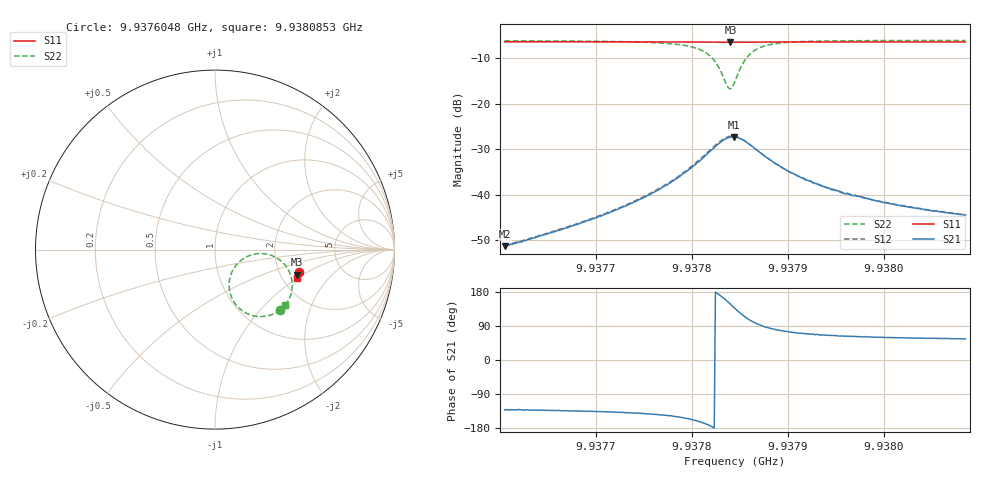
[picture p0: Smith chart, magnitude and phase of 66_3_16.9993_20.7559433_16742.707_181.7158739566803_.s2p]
#  HZ  S  RI  R  50.00
! Rohde & Schwarz Vector Network Analyzer
! Rohde-Schwarz,ZNB20-2Port,1311601062101988,3.16
! Created: UTC 3/20/2024, 10:55:01 PM
! freq[Hz]  re:S11  im:S11  re:S21  im:S21  re:S12  im:S12  re:S22  im:S22
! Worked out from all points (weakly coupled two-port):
!   401 points, 9.9376048 GHz to 9.9380853 GHz, reference 50 ohm
!   highest |S21| = -27.26 dB at 9.9378439 GHz (marker M1); lowest = -51.3 dB at 9.9376048 GHz (marker M2)
!   lowest |S11| = -6.4 dB at 9.9378403 GHz (marker M3), VSWR 2.82, Z = 122 - j44.1 ohm
!   |S11| at or under -10 dB: nowhere
!   |S22| runs from -16.7 to -6.0 dB; largest |S21 - S12| = 0.0027
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9.93760481e9  0.4652 -0.126  -0.00181 -0.00203  -0.00182 -0.00203  0.3637 -0.3351
9.9376853e9  0.4632 -0.1316  -0.00349 -0.00349  -0.00359 -0.00352  0.3444 -0.3485
9.93772734e9  0.462 -0.1346  -0.00542 -0.00484  -0.0056 -0.00485  0.3248 -0.3587
9.93776578e9  0.4608 -0.1373  -0.0093 -0.00664  -0.00966 -0.00664  0.2887 -0.37
9.93779582e9  0.4592 -0.1398  -0.0167 -0.00799  -0.0174 -0.00783  0.2251 -0.3711
9.93781383e9  0.4576 -0.1408  -0.026 -0.00575  -0.0271 -0.00528  0.1501 -0.3391
9.93782465e9  0.4562 -0.1411  -0.034 0.000591  -0.0352 0.00205  0.0953 -0.2727
9.93783065e9  0.4556 -0.1406  -0.0374 0.00771  -0.0383 0.00972  0.0789 -0.2088
9.93783666e9  0.4552 -0.1397  -0.0382 0.0174  -0.0382 0.0196  0.0918 -0.1306
9.93784026e9  0.4551 -0.1394  -0.0364 0.0231  -0.0357 0.0258  0.1183 -0.0863
9.93784387e9  0.4554 -0.1388  -0.0326 0.0286  -0.0316 0.0308  0.1572 -0.051
9.93784507e9  0.4554 -0.1386  -0.031 0.0301  -0.0299 0.0322  0.1722 -0.0422
9.93785107e9  0.4563 -0.1382  -0.0224 0.0349  -0.0205 0.0362  0.2509 -0.0219
9.93785588e9  0.4569 -0.1384  -0.0152 0.0355  -0.0135 0.0364  0.3067 -0.0299
9.93786189e9  0.4576 -0.1388  -0.00813 0.0338  -0.00668 0.0342  0.3582 -0.056
9.93786909e9  0.4581 -0.1395  -0.00241 0.0304  -0.00106 0.0302  0.3962 -0.0935
9.9378787e9  0.4587 -0.1406  0.00182 0.0253  0.00269 0.0252  0.4201 -0.1384
9.93789312e9  0.4588 -0.1422  0.00435 0.0197  0.00495 0.0196  0.4301 -0.1867
9.93792555e9  0.4581 -0.145  0.00502 0.0127  0.00544 0.0127  0.4243 -0.2436
9.93795799e9  0.4573 -0.1476  0.00469 0.00932  0.00493 0.00935  0.4149 -0.2706
9.93800604e9  0.4561 -0.151  0.00407 0.00688  0.00424 0.00687  0.4036 -0.2915
9.93808532e9  0.4541 -0.1563  0.00338 0.00494  0.00347 0.00493  0.3912 -0.3096
